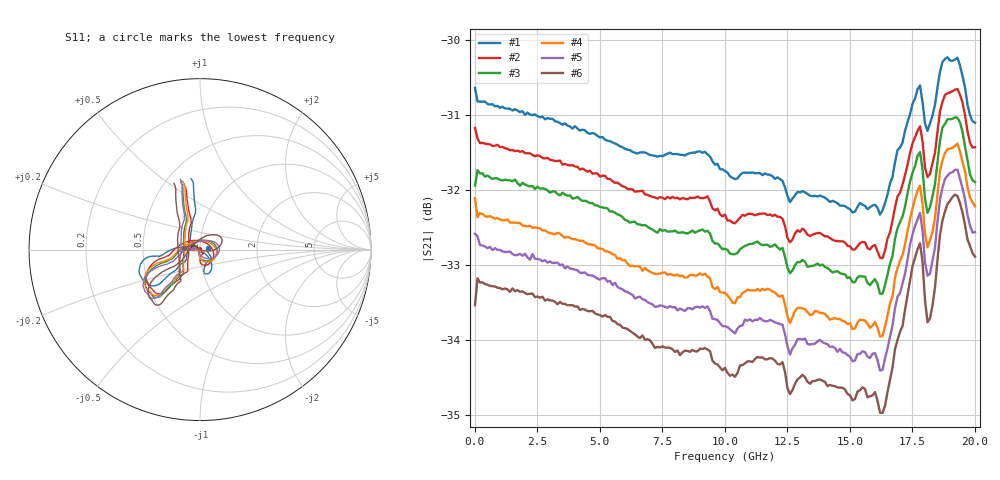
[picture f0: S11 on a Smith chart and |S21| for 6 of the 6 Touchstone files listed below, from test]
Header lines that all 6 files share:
! Hittite Microwave Corporation
! 2 Elizabeth Drive
! Chelmsford, MA 01824
! http://www.hittite.com
! Tel: 978-250-3343
! Fax: 978-250-3373
! Device:  HMC424LP3
! Description: 0.5 dB GaAs MMIC 6-Bit Digital Attenuator
! Frequency:  DC -  13.00 GHz
! Package:  LP3  - 3x3 mm Quad Flatpack No-Lead (QFN) Plastic Package: 16 pin
! Ports:  2 RF, 7 DC
!  Pad  1  = Ground
!  Pad  2  = RF IN  =  Port 1
!  Pad  3  = Ground
!  Pad  4  = V6
!  Pad  5  = V5
!  Pad  6  = V4
!  Pad  7  = V3
!  Pad  8  = V2
!  Pad  9  = V1
!  Pad 10  = Ground
!  Pad 11  = RF OUT  = Port 2
!  Pad 12  = Ground
!  Pad 15  = VEE
! Control:  -5 Volt control voltage
# GHz S MA R 50
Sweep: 10 MHz to 20.01 GHz
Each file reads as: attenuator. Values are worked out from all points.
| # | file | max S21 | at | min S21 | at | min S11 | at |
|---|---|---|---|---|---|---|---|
| 1 | a (59).s2p | -30.23 dB | 18.91 GHz | -32.3 dB | 16.21 GHz | -43.8 dB | 8.81 GHz |
| 2 | a (60).s2p | -30.65 dB | 19.31 GHz | -32.9 dB | 16.31 GHz | -41.4 dB | 510 MHz |
| 3 | a (61).s2p | -31.03 dB | 19.21 GHz | -33.4 dB | 16.31 GHz | -52.1 dB | 2.21 GHz |
| 4 | a (62).s2p | -31.38 dB | 19.31 GHz | -33.9 dB | 16.21 GHz | -44.1 dB | 1.91 GHz |
| 5 | a (63).s2p | -31.73 dB | 19.31 GHz | -34.4 dB | 16.21 GHz | -40.1 dB | 3.51 GHz |
| 6 | a (64).s2p | -32.06 dB | 19.21 GHz | -35.0 dB | 16.31 GHz | -62.6 dB | 5.21 GHz |
